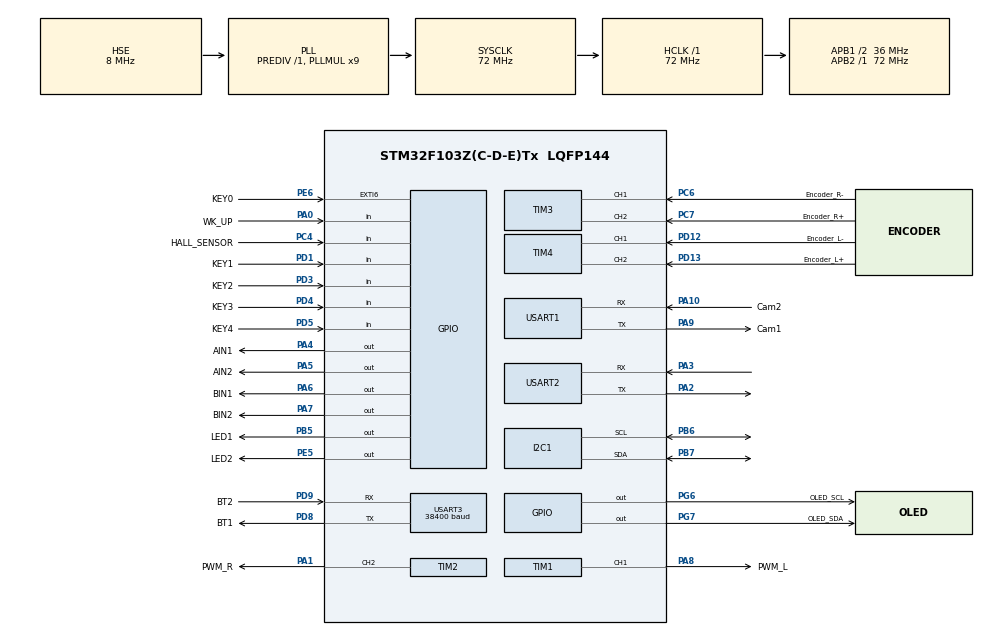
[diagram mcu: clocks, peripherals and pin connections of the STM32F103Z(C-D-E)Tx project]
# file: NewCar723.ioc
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Dma.Request0=USART3_TX
Dma.Request1=USART3_RX
Dma.USART3_RX.1.Direction=DMA_PERIPH_TO_MEMORY
Dma.USART3_RX.1.Instance=DMA1_Channel3
Dma.USART3_RX.1.MemDataAlignment=DMA_MDATAALIGN_BYTE
Dma.USART3_RX.1.MemInc=DMA_MINC_ENABLE
Dma.USART3_RX.1.Mode=DMA_NORMAL
Dma.USART3_RX.1.PeriphDataAlignment=DMA_PDATAALIGN_BYTE
Dma.USART3_RX.1.PeriphInc=DMA_PINC_DISABLE
Dma.USART3_RX.1.Priority=DMA_PRIORITY_LOW
Dma.USART3_TX.0.Direction=DMA_MEMORY_TO_PERIPH
Dma.USART3_TX.0.Instance=DMA1_Channel2
Dma.USART3_TX.0.MemDataAlignment=DMA_MDATAALIGN_BYTE
Dma.USART3_TX.0.MemInc=DMA_MINC_ENABLE
Dma.USART3_TX.0.Mode=DMA_NORMAL
Dma.USART3_TX.0.PeriphDataAlignment=DMA_PDATAALIGN_BYTE
Dma.USART3_TX.0.PeriphInc=DMA_PINC_DISABLE
Dma.USART3_TX.0.Priority=DMA_PRIORITY_LOW
I2C1.I2C_Mode=I2C_Fast
Mcu.Family=STM32F1
Mcu.Name=STM32F103Z(C-D-E)Tx
Mcu.Package=LQFP144
NVIC.DMA1_Channel2_IRQn=true\:0\:0\:false\:false\:true\:false\:true\:true
NVIC.DMA1_Channel3_IRQn=true\:0\:0\:false\:false\:true\:false\:true\:true
NVIC.EXTI9_5_IRQn=true\:0\:0\:false\:false\:true\:true\:true\:true
NVIC.PriorityGroup=NVIC_PRIORITYGROUP_4
NVIC.TIM6_IRQn=true\:0\:0\:true\:false\:true\:true\:true\:true
NVIC.USART1_IRQn=true\:1\:0\:true\:false\:true\:true\:true\:true
NVIC.USART2_IRQn=true\:1\:0\:true\:false\:true\:true\:true\:true
NVIC.USART3_IRQn=true\:1\:0\:true\:false\:true\:true\:true\:true
OSC_IN.Mode=HSE-External-Oscillator
OSC_IN.Signal=RCC_OSC_IN
OSC_OUT.Mode=HSE-External-Oscillator
OSC_OUT.Signal=RCC_OSC_OUT
PA0-WKUP.GPIO_Label=WK_UP
PA0-WKUP.GPIO_PuPd=GPIO_PULLDOWN
PA0-WKUP.Signal=GPIO_Input
PA1.GPIO_Label=PWM_R
PA1.GPIO_Speed=GPIO_SPEED_FREQ_HIGH
PA1.Signal=S_TIM2_CH2
PA10.GPIO_Label=Cam2
PA10.Mode=Asynchronous
PA10.Signal=USART1_RX
PA2.Mode=Asynchronous
PA2.Signal=USART2_TX
PA3.Mode=Asynchronous
PA3.Signal=USART2_RX
PA4.GPIO_Label=AIN1
PA4.GPIO_Speed=GPIO_SPEED_FREQ_HIGH
PA4.Signal=GPIO_Output
PA5.GPIO_Label=AIN2
PA5.GPIO_Speed=GPIO_SPEED_FREQ_HIGH
PA5.PinState=GPIO_PIN_SET
PA5.Signal=GPIO_Output
PA6.GPIO_Label=BIN1
PA6.GPIO_Speed=GPIO_SPEED_FREQ_HIGH
PA6.Signal=GPIO_Output
PA7.GPIO_Label=BIN2
PA7.GPIO_Speed=GPIO_SPEED_FREQ_HIGH
PA7.PinState=GPIO_PIN_SET
PA7.Signal=GPIO_Output
PA8.GPIO_Label=PWM_L
PA8.GPIO_Speed=GPIO_SPEED_FREQ_HIGH
PA8.Signal=S_TIM1_CH1
PA9.GPIO_Label=Cam1
PA9.Mode=Asynchronous
PA9.Signal=USART1_TX
PB5.GPIO_Label=LED1
PB5.PinState=GPIO_PIN_SET
PB5.Signal=GPIO_Output
PB6.Mode=I2C
PB6.Signal=I2C1_SCL
PB7.Mode=I2C
PB7.Signal=I2C1_SDA
PC4.GPIO_Label=HALL_SENSOR
PC4.GPIO_PuPd=GPIO_PULLUP
PC4.Signal=GPIO_Input
PC6.GPIO_Label=Encoder_R-
PC6.GPIO_PuPd=GPIO_PULLUP
PC6.Signal=S_TIM3_CH1
PC7.GPIO_Label=Encoder_R+
PC7.GPIO_PuPd=GPIO_PULLUP
PC7.Signal=S_TIM3_CH2
PD1.GPIO_Label=KEY1
PD1.GPIO_PuPd=GPIO_PULLUP
PD1.Signal=GPIO_Input
PD12.GPIO_Label=Encoder_L-
PD12.GPIO_PuPd=GPIO_PULLUP
PD12.Signal=S_TIM4_CH1
PD13.GPIO_Label=Encoder_L+
PD13.GPIO_PuPd=GPIO_PULLUP
PD13.Signal=S_TIM4_CH2
PD3.GPIO_Label=KEY2
PD3.GPIO_PuPd=GPIO_PULLUP
PD3.Signal=GPIO_Input
PD4.GPIO_Label=KEY3
PD4.GPIO_PuPd=GPIO_PULLUP
PD4.Signal=GPIO_Input
PD5.GPIO_Label=KEY4
PD5.GPIO_PuPd=GPIO_PULLUP
PD5.Signal=GPIO_Input
PD8.GPIO_Label=BT1
PD8.Mode=Asynchronous
PD8.Signal=USART3_TX
PD9.GPIO_Label=BT2
PD9.Mode=Asynchronous
PD9.Signal=USART3_RX
PE5.GPIO_Label=LED2
PE5.PinState=GPIO_PIN_SET
PE5.Signal=GPIO_Output
PE6.GPIO_Label=KEY0
PE6.GPIO_PuPd=GPIO_PULLUP
PE6.Signal=GPXTI6
PG6.GPIO_Label=OLED_SCL
PG6.GPIO_ModeDefaultOutputPP=GPIO_MODE_OUTPUT_OD
PG6.GPIO_PuPd=GPIO_NOPULL
PG6.GPIO_Speed=GPIO_SPEED_FREQ_MEDIUM
PG6.Signal=GPIO_Output
PG7.GPIO_Label=OLED_SDA
PG7.GPIO_ModeDefaultOutputPP=GPIO_MODE_OUTPUT_OD
PG7.GPIO_PuPd=GPIO_NOPULL
PG7.GPIO_Speed=GPIO_SPEED_FREQ_MEDIUM
PG7.Signal=GPIO_Output
ProjectManager.HeapSize=0x200
ProjectManager.StackSize=0x400
ProjectManager.TargetToolchain=MDK-ARM V5.32
RCC.AHBFreq_Value=72000000
RCC.APB1CLKDivider=RCC_HCLK_DIV2
RCC.APB1Freq_Value=36000000
RCC.APB1TimFreq_Value=72000000
RCC.APB2Freq_Value=72000000
RCC.APB2TimFreq_Value=72000000
RCC.HCLKFreq_Value=72000000
RCC.PLLMUL=RCC_PLL_MUL9
RCC.PLLSourceVirtual=RCC_PLLSOURCE_HSE
RCC.SYSCLKFreq_VALUE=72000000
RCC.SYSCLKSource=RCC_SYSCLKSOURCE_PLLCLK
RCC.USBFreq_Value=72000000
SH.S_TIM1_CH1.0=TIM1_CH1,PWM Generation1 CH1
SH.S_TIM2_CH2.0=TIM2_CH2,PWM Generation2 CH2
SH.S_TIM3_CH1.0=TIM3_CH1,Encoder_Interface
SH.S_TIM3_CH2.0=TIM3_CH2,Encoder_Interface
SH.S_TIM4_CH1.0=TIM4_CH1,Encoder_Interface
SH.S_TIM4_CH2.0=TIM4_CH2,Encoder_Interface
TIM1.Channel-PWM\ Generation1\ CH1=TIM_CHANNEL_1
TIM1.Period=1000-1
TIM1.Prescaler=72-1
TIM1.Pulse-PWM\ Generation1\ CH1=600
TIM2.Channel-PWM\ Generation2\ CH2=TIM_CHANNEL_2
TIM2.Period=1000-1
TIM2.Prescaler=72-1
TIM2.Pulse-PWM\ Generation2\ CH2=600
TIM3.EncoderMode=TIM_ENCODERMODE_TI12
TIM4.AutoReloadPreload=TIM_AUTORELOAD_PRELOAD_ENABLE
TIM4.EncoderMode=TIM_ENCODERMODE_TI12
TIM4.IC1Filter=0
TIM4.IC2Filter=0
TIM6.Period=10000-1
TIM6.Prescaler=72-1
USART1.VirtualMode=VM_ASYNC
USART2.VirtualMode=VM_ASYNC
USART3.BaudRate=38400
USART3.VirtualMode=VM_ASYNC
VP_SYS_VS_ND.Mode=No_Debug
VP_TIM1_VS_ClockSourceINT.Mode=Internal
VP_TIM2_VS_ClockSourceINT.Mode=Internal
VP_TIM6_VS_ClockSourceINT.Mode=Enable_Timer
board=custom

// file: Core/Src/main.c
/* USER CODE BEGIN Header */
/**
  ******************************************************************************
  * @file           : main.c
  * @brief          : Main program body
  ******************************************************************************
  * @attention
  *
  * Copyright (c) 2024 STMicroelectronics.
  * All rights reserved.
  *
  * This software is licensed under terms that can be found in the LICENSE file
  * in the root directory of this software component.
  * If no LICENSE file comes with this software, it is provided AS-IS.
  *
  ******************************************************************************
  */
/* USER CODE END Header */
#include "main.h"
#include "dma.h"
#include "i2c.h"
#include "tim.h"
#include "usart.h"
#include "gpio.h"

/* USER CODE BEGIN Includes */
#include <string.h>
#include <stdio.h>
#include <cstdlib>
#include <math.h>
#include "openmv.h"
#include "BlueTooth.h"
#include "Control.h"
#include "Encoder.h"
#include "mpuAngle.h"
#include "OLED.h"
#include "menu.h"
#include "PID.h"
/* USER CODE END Includes */

/* USER CODE BEGIN PV */
extern volatile uint8_t reset_flag;
uint16_t mpu6050Time = 0;
uint16_t OLEDTime = 0;
extern uint8_t Angle,Number2, Number3;
uint16_t encoderTime = 0;
//extern uint8_t Number1, Number2, Number3;
/* USER CODE END PV */

void SystemClock_Config(void);

/* USER CODE BEGIN 0 */
//void System_Reset(void){
//  reset_flag = 0;
//  while(!reset_flag);
//  reset_flag = 0;
//  HAL_NVIC_SystemReset();
//}

#define BUFF_MAX_SIZE 255 //最长缓冲区位数256

typedef struct usartRecvType { //openmv的uart1
    uint8_t recvData;	// 接收数据
    uint8_t recvBuff[BUFF_MAX_SIZE];  // 接收数据的缓冲区
    uint8_t recvFlag; // 成功接收一包数据的标志位
    uint16_t recvNum; // 接收数据的字节数
} usartRecvType_t;
usartRecvType_t usart1Recv = {0}; //初始化 接收结构体

uint8_t uart3_rxbuff; //蓝牙的uart3

// 串口接收回调函数
void HAL_UART_RxCpltCallback(UART_HandleTypeDef *huart)
{
    if(huart->Instance == USART1)
    {
		static uint8_t temp;
		temp = usart1Recv.recvData;

        OpenMV_Data_Receive(temp);
		HAL_UART_Transmit(&huart1, &temp, 1,100);

        // 重新开启串口接收中断
        HAL_UART_Receive_IT(&huart1, (uint8_t *)&usart1Recv.recvData, 1); //接收, 存到recvData里
    }

	if(huart->Instance == USART3)
    {
		static uint8_t temp3;
		temp3 = usart1Recv.recvData;

        OpenMV_Data_Receive(temp3);
		HAL_UART_Transmit(&huart3, &temp3, 1,100);

        // 重新开启串口接收中断
        HAL_UART_Receive_IT(&huart3, (uint8_t *)&uart3_rxbuff, 1); //接收, 存到recvData里
    }
}

/* USER CODE END 0 */

int main(void)
{
  /* USER CODE BEGIN 1 */
  PID_Update pid_velocity;
  pid_velocity.Kp = 3000;
  pid_velocity.Ki = 1000;
  pid_velocity.Kd = 0;
  pid_velocity.integral = 300;
  pid_velocity.integral_limit =0.1;
  pid_velocity.integrator_separation_threshold = 0;
  pid_velocity.prev_error = 0;
  pid_velocity.prev_output = 0;
  pid_velocity.time_interval =0.01;
  /* USER CODE END 1 */

  /* MCU Configuration--------------------------------------------------------*/

  /* Reset of all peripherals, Initializes the Flash interface and the Systick. */
  HAL_Init();

  /* Configure the system clock */
  SystemClock_Config();

  /* Initialize all configured peripherals */
  MX_GPIO_Init();
  MX_DMA_Init();
  MX_USART1_UART_Init();
  MX_USART3_UART_Init();
  MX_TIM2_Init();
  MX_TIM3_Init();
  MX_TIM1_Init();
  MX_I2C1_Init();
  MX_TIM4_Init();
  MX_USART2_UART_Init();
  MX_TIM6_Init();
  /* USER CODE BEGIN 2 */
    HAL_GPIO_WritePin(LED1_GPIO_Port, LED1_Pin, GPIO_PIN_RESET); // 打开红灯

	Encoder_Init(); //初始化编码器
	Control_Init(); //初始化控制算法
  	OLED_Init();  //OLED初始化IIC2
	Set_PWM(&htim1, 50, TIM_CHANNEL_1); //设置初始PWM
	Set_PWM(&htim2, 50, TIM_CHANNEL_2);

  HAL_GPIO_WritePin(LED2_GPIO_Port, LED2_Pin, GPIO_PIN_RESET); // 打开绿灯

	//HAL_UART_Transmit(&huart1, (uint8_t *)"test", 5,50); //串口发送字符串uart1
	HAL_UART_Receive_IT(&huart1,(uint8_t *)&usart1Recv.recvData,1); //开启uart1接收 openmv
	HAL_UART_Receive_IT(&huart3,(uint8_t *)&uart3_rxbuff, 1);// 开启uart3接收 蓝牙

//	MPU6050_Init(Sensor_I2C1_Serch()); //初始化角度传感器

	uint8_t  SendBuffer[30]={"Hello,world\r\n"};
	OLED_ShowNum(1,1,1,1);
  /* USER CODE END 2 */

  /* Infinite loop */
  /* USER CODE BEGIN WHILE */
  while (1)
  {
	  //menu1();
	  if(encoderTime >= 10){
		  encoderTime = 0;
		  float speedR = Get_Wheel_Speed_R();
		  float speedL = Get_Wheel_Speed_L();
		  int32_t getLL = getL();
		  char strR[20];
		  char strL[20];
		  sprintf(strR, "Right: %.3f", speedR);
		  sprintf(strL, "Left:  %.3f", speedL);
		  OLED_ShowString(1,1,strL);
		  OLED_ShowString(2,1,strR); //在OLED上显示转速

		float actualspeedR_pwm = PID_Controller(&pid_velocity,0.5,speedR); //根据实际转速, 用PID得到占空比
		float actualspeedL_pwm = PID_Controller(&pid_velocity,0.5,speedL);
		Motor(actualspeedL_pwm,actualspeedR_pwm); //设置得到的占空比
		char str[50];
		sprintf(str, "speed:%f, %f, %f, %f\n", speedR, speedL, actualspeedR_pwm, actualspeedL_pwm); //传到串口2
		HAL_UART_Transmit(&huart2, (uint8_t *)str, sizeof(str),50);
	  }

	  	//BlueToothTransmitData();

	  //Control_Loop_Angle0(); //闭环控制

    /* USER CODE END WHILE */

  }
}

void SystemClock_Config(void)
{
  RCC_OscInitTypeDef RCC_OscInitStruct = {0};
  RCC_ClkInitTypeDef RCC_ClkInitStruct = {0};

  /** Initializes the RCC Oscillators according to the specified parameters
  * in the RCC_OscInitTypeDef structure.
  */
  RCC_OscInitStruct.OscillatorType = RCC_OSCILLATORTYPE_HSE;
  RCC_OscInitStruct.HSEState = RCC_HSE_ON;
  RCC_OscInitStruct.HSEPredivValue = RCC_HSE_PREDIV_DIV1;
  RCC_OscInitStruct.HSIState = RCC_HSI_ON;
  RCC_OscInitStruct.PLL.PLLState = RCC_PLL_ON;
  RCC_OscInitStruct.PLL.PLLSource = RCC_PLLSOURCE_HSE;
  RCC_OscInitStruct.PLL.PLLMUL = RCC_PLL_MUL9;
  if (HAL_RCC_OscConfig(&RCC_OscInitStruct) != HAL_OK)
  {
    Error_Handler();
  }

  /** Initializes the CPU, AHB and APB buses clocks
  */
  RCC_ClkInitStruct.ClockType = RCC_CLOCKTYPE_HCLK|RCC_CLOCKTYPE_SYSCLK
                              |RCC_CLOCKTYPE_PCLK1|RCC_CLOCKTYPE_PCLK2;
  RCC_ClkInitStruct.SYSCLKSource = RCC_SYSCLKSOURCE_PLLCLK;
  RCC_ClkInitStruct.AHBCLKDivider = RCC_SYSCLK_DIV1;
  RCC_ClkInitStruct.APB1CLKDivider = RCC_HCLK_DIV2;
  RCC_ClkInitStruct.APB2CLKDivider = RCC_HCLK_DIV1;

  if (HAL_RCC_ClockConfig(&RCC_ClkInitStruct, FLASH_LATENCY_2) != HAL_OK)
  {
    Error_Handler();
  }
}

/* USER CODE BEGIN 4 */

//	if(!usart1Recv.recvFlag){ //接收数据, 将接收到的数据再发送到串口, 同时显示在oled第2行
//        usart1Recv.recvFlag = 0;
//        HAL_UART_Transmit_IT(&huart1, usart1Recv.recvBuff, usart1Recv.recvNum);             // 发送数据
//        usart1Recv.recvNum = 0;
//        OLED_ShowStr(0,32,usart1Recv.recvBuff,2);
//        }

//    if (reset_flag){
//      //Control
//    }
//    else{
//      System_Reset();
//    }

//	  if(mpu6050Time >= 500){
//		  mpu6050Time = 0;
//		  MPU6050_Read_Accel();
//		  MPU6050_Read_Gyro();
//		  MPU6050_Read_Temp();
//	  }
	  //HAL_UART_Transmit(&huart3, "Hello,world\r\n", 30, 500);

/* USER CODE END 4 */

void Error_Handler(void)
{
  __disable_irq();
  while (1)
  {
  }
}
